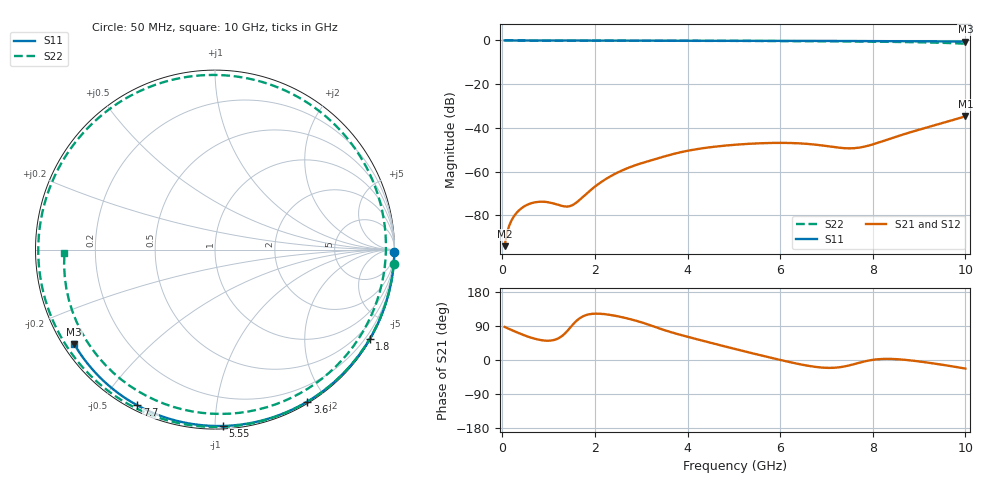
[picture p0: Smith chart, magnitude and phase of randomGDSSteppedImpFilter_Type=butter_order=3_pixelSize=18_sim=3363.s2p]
! freq	dB(S11)	phase(S11)	dB(S12)	phase(S12)
!  dB(S21)	phase(S21)	dB(S22)	phase(S22)
!S-par simulation data
#  GHz  S  DB  R 50
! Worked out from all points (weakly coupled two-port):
!   200 points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, 50 MHz to 10 GHz, reference 50 ohm
!   highest |S21| = -34.65 dB at 10 GHz (marker M1); lowest = -94.0 dB at 50 MHz (marker M2)
!   lowest |S11| = -0.5 dB at 10 GHz (marker M3), VSWR 35.20, Z = 1.55 - j15.2 ohm
!   |S11| at or under -10 dB: nowhere
!   |S22| runs from -1.5 to 0.0 dB; largest |S21 - S12| = 0
!   S11 on the Smith chart (normalised r, x): 50 MHz: open; 1.8 GHz: 0.03, -3.72; 3.6 GHz: 0.02, -1.78; 5.55 GHz: 0.02, -1.05; 7.7 GHz: 0.02, -0.62; 10 GHz: 0.03, -0.30
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0.05  -0.00 -0.9  -94.05 87.3  -94.05 87.3  -0.00 -4.8
0.25  -0.01 -4.3  -80.44 76.4  -80.44 76.4  -0.03 -23.4
0.45  -0.01 -7.6  -76.17 66.4  -76.17 66.4  -0.05 -41.3
0.85  -0.02 -14.4  -73.72 52.2  -73.72 52.2  -0.09 -73.9
1.4  -0.03 -23.5  -75.94 76.1  -75.94 76.1  -0.11 -110.7
1.75  -0.04 -29.3  -71.35 115.7  -71.35 115.7  -0.11 -129.8
1.8  -0.04 -30.1  -70.39 118.1  -70.39 118.1  -0.11 -132.3
2.55  -0.05 -42.3  -59.78 113.9  -59.78 113.9  -0.13 -165.5
3.4  -0.07 -55.7  -53.65 82.9  -53.65 82.9  -0.15 163.0
3.6  -0.08 -58.7  -52.43 75.0  -52.43 75.0  -0.15 156.0
4.35  -0.10 -70.1  -49.21 50.1  -49.21 50.1  -0.18 129.8
5.05  -0.12 -80.3  -47.64 28.3  -47.64 28.3  -0.22 104.4
5.55  -0.14 -87.4  -47.02 13.3  -47.02 13.3  -0.25 84.9
6.15  -0.17 -95.8  -46.85 -4.0  -46.85 -4.0  -0.29 59.4
6.7  -0.20 -103.3  -47.50 -17.1  -47.50 -17.1  -0.34 33.5
7.2  -0.23 -110.0  -48.84 -20.2  -48.84 -20.2  -0.40 7.6
7.7  -0.27 -116.6  -49.02 -7.5  -49.02 -7.5  -0.48 -20.2
8.35  -0.32 -125.0  -45.08 3.0  -45.08 3.0  -0.63 -59.3
8.75  -0.36 -130.2  -42.37 -0.2  -42.37 -0.2  -0.74 -84.7
9.15  -0.40 -135.3  -39.88 -6.3  -39.88 -6.3  -0.89 -111.6
9.65  -0.45 -141.7  -36.88 -15.4  -36.88 -15.4  -1.17 -148.7
10  -0.49 -146.2  -34.65 -22.7  -34.65 -22.7  -1.53 -178.8
